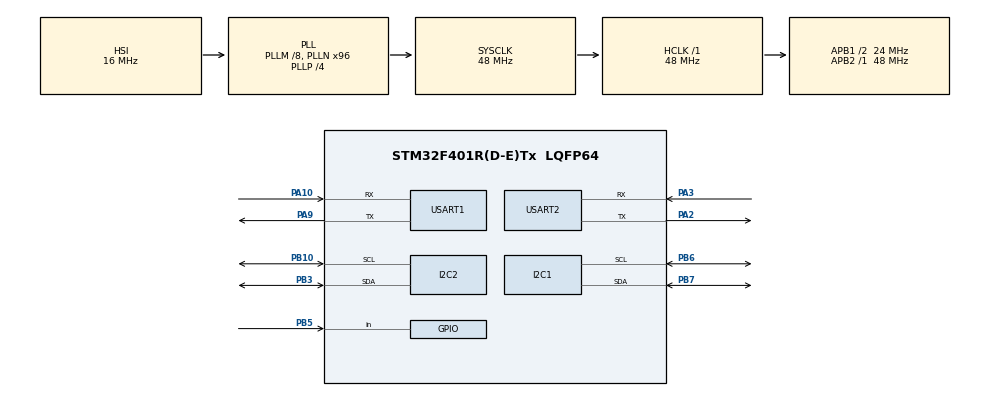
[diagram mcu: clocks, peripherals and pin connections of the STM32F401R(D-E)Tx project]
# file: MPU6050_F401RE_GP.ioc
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FREERTOS.Tasks01=defaultTask,24,128,StartDefaultTask,Default,NULL,Dynamic,NULL,NULL
FREERTOS.configUSE_NEWLIB_REENTRANT=1
I2C1.I2C_Mode=I2C_Fast
Mcu.Family=STM32F4
Mcu.Name=STM32F401R(D-E)Tx
Mcu.Package=LQFP64
NVIC.PriorityGroup=NVIC_PRIORITYGROUP_4
NVIC.TIM1_UP_TIM10_IRQn=true\:15\:0\:false\:false\:true\:false\:false\:true\:true
NVIC.TimeBase=TIM1_UP_TIM10_IRQn
NVIC.TimeBaseIP=TIM1
PA10.Mode=Asynchronous
PA10.Signal=USART1_RX
PA13.Mode=Serial_Wire
PA13.Signal=SYS_JTMS-SWDIO
PA14.Mode=Serial_Wire
PA14.Signal=SYS_JTCK-SWCLK
PA2.Mode=Asynchronous
PA2.Signal=USART2_TX
PA3.Mode=Asynchronous
PA3.Signal=USART2_RX
PA9.Mode=Asynchronous
PA9.Signal=USART1_TX
PB10.Mode=I2C
PB10.Signal=I2C2_SCL
PB3.Mode=I2C
PB3.Signal=I2C2_SDA
PB5.Signal=GPIO_Input
PB6.Mode=I2C
PB6.Signal=I2C1_SCL
PB7.Mode=I2C
PB7.Signal=I2C1_SDA
ProjectManager.HeapSize=0x200
ProjectManager.StackSize=0x400
ProjectManager.TargetToolchain=STM32CubeIDE
RCC.48MHZClocksFreq_Value=48000000
RCC.AHBFreq_Value=48000000
RCC.APB1CLKDivider=RCC_HCLK_DIV2
RCC.APB1Freq_Value=24000000
RCC.APB1TimFreq_Value=48000000
RCC.APB2Freq_Value=48000000
RCC.APB2TimFreq_Value=48000000
RCC.CortexFreq_Value=48000000
RCC.HCLKFreq_Value=48000000
RCC.HSE_VALUE=25000000
RCC.HSI_VALUE=16000000
RCC.LSE_VALUE=32768
RCC.PLLM=8
RCC.PLLN=96
RCC.PLLP=RCC_PLLP_DIV4
RCC.SYSCLKFreq_VALUE=48000000
RCC.SYSCLKSource=RCC_SYSCLKSOURCE_PLLCLK
RCC.VCOOutputFreq_Value=192000000
USART1.VirtualMode=VM_ASYNC
USART2.VirtualMode=VM_ASYNC
VP_FREERTOS_VS_CMSIS_V2.Mode=CMSIS_V2
VP_SYS_VS_tim1.Mode=TIM1
board=custom

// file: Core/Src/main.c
/* USER CODE BEGIN Header */
/**
  ******************************************************************************
  * @file           : main.c
  * @brief          : Main program body
  ******************************************************************************
  * @attention
  *
  * Copyright (c) 2025 STMicroelectronics.
  * All rights reserved.
  *
  * This software is licensed under terms that can be found in the LICENSE file
  * in the root directory of this software component.
  * If no LICENSE file comes with this software, it is provided AS-IS.
  *
  ******************************************************************************
  */
/* USER CODE END Header */
#include "main.h"
#include "cmsis_os.h"
#include "i2c.h"
#include "usart.h"
#include "gpio.h"

/* USER CODE BEGIN Includes */
#include <stdio.h>
#include <math.h>
#include <string.h>
#include "MPU6050.h"
#include "CalculateAngle.h"
#include "I2Cdev.h"
#include "HMC5883L.h"
/* USER CODE END Includes */

/* USER CODE BEGIN PV */
extern UART_HandleTypeDef huart1;
extern UART_HandleTypeDef huart2;
extern I2C_HandleTypeDef hi2c2;

int16_t mx, my, mz;
float pitch, roll;
char uartBuf[50];
float mx_comp, my_comp;
float yaw;

TaskHandle_t mpu6050_Handler;
TaskHandle_t HMC5883L_Handler;
osMutexId_t uart2MutexHandle;
/* USER CODE END PV */

void SystemClock_Config(void);
void MX_FREERTOS_Init(void);

/* USER CODE BEGIN 0 */

void Send_Yaw_Angle_UART(float yaw)
{
    int len = snprintf(uartBuf, sizeof(uartBuf), "%f\r\n", yaw);
    HAL_UART_Transmit(&huart1, (uint8_t*)uartBuf, len, HAL_MAX_DELAY);
}

void MPU6050_Task(void *argument)
{
	MPU6050_Initialization();
	osDelay(1000);
    while (1) {
    	if(MPU6050_DataReady() == 1)
		{
			MPU6050_ProcessData(&MPU6050);
			CalculateCompliFilter(&Angle, &MPU6050);
			char buffer[64];
			sprintf(buffer, "MPU6050 Yaw: %f\n\r",Angle.ComFilt_yaw);
			osMutexAcquire(uart2MutexHandle, osWaitForever);
			HAL_UART_Transmit(&huart2, (uint8_t*)buffer, strlen(buffer), HAL_MAX_DELAY);
			osMutexRelease(uart2MutexHandle);
			osDelay(10);
		}
    }
}

void HMC5883L_Task(void *argument)
{
	char buffer[64];
	HMC5883L_initialize();
	osDelay(100);
    while (1) {
    	HMC5883L_getHeading(&mx, &my, &mz);
		float fx = (float)mx;
		float fy = (float)my;
		float fz = (float)mz;
		float pitchRad = pitch * M_PI / 180.0;
		float rollRad  = roll  * M_PI / 180.0;

		mx_comp = fx * cos(pitchRad) + fz * sin(pitchRad);
		my_comp = fx * sin(rollRad) * sin(pitchRad) + fy * cos(rollRad) - fz * sin(rollRad) * cos(pitchRad);

		yaw = atan2(my_comp, mx_comp) * 180.0 / M_PI;

		if (yaw < 0)
			yaw += 360;
    	sprintf(buffer, "HMC5883L Yaw: %.2f°\r\n", yaw);
    	osMutexAcquire(uart2MutexHandle, osWaitForever);
    	//HAL_UART_Transmit(&huart2, (uint8_t*)buffer, strlen(buffer), HAL_MAX_DELAY);
    	printf("%s", buffer);
    	osMutexRelease(uart2MutexHandle);
        osDelay(10);
    }
}

#ifdef __GNUC__
#define UART_printf   int __io_putchar(int ch)
UART_printf
{
	HAL_UART_Transmit(&huart2, (uint8_t*)&ch, 1, HAL_MAX_DELAY);
	return ch;
}
#endif
/* USER CODE END 0 */

int main(void)
{

  /* MCU Configuration--------------------------------------------------------*/

  /* Reset of all peripherals, Initializes the Flash interface and the Systick. */
  HAL_Init();

  /* Configure the system clock */
  SystemClock_Config();

  /* Initialize all configured peripherals */
  MX_GPIO_Init();
  MX_I2C1_Init();
  MX_USART2_UART_Init();
  MX_USART1_UART_Init();
  MX_I2C2_Init();
  /* USER CODE BEGIN 2 */
  I2Cdev_init(&hi2c2);
  /* USER CODE END 2 */

  /* Init scheduler */
  osKernelInitialize();

  /* Call init function for freertos objects (in cmsis_os2.c) */

  uart2MutexHandle = osMutexNew(NULL);

//  const osThreadAttr_t mpu6050Task_attributes = {
//    .name = "MPU6050",
//    .priority = (osPriority_t) osPriorityAboveNormal,
//    .stack_size = 128 * 4
//  };
//  mpu6050_Handler = osThreadNew(MPU6050_Task, NULL, &mpu6050Task_attributes);

  const osThreadAttr_t hmc5883lTask_attributes = {
	.name = "HMC5883L",
	.priority = (osPriority_t) osPriorityAboveNormal1,
	.stack_size = 128 * 4
  };
  HMC5883L_Handler = osThreadNew(HMC5883L_Task, NULL, &hmc5883lTask_attributes);
  /* Start scheduler */
  osKernelStart();

  /* We should never get here as control is now taken by the scheduler */

  /* Infinite loop */
  /* USER CODE BEGIN WHILE */
  while (1)
  {
//	  HMC5883L_getHeading(&mx, &my, &mz);  // Reads raw magnetometer data
//	  sprintf(buffer, "Mag X: %d\tY: %d\tZ: %d\r\n", mx, my, mz);
//	  printf("%s \n", buffer);
//	  computeYawFromMag();
//	  HAL_Delay(10);
//	  if(MPU6050_DataReady() == 1)
//		{
//			MPU6050_ProcessData(&MPU6050);
//			CalculateCompliFilter(&Angle, &MPU6050);
//			printf("%f\n\r",Angle.ComFilt_yaw);
//			Send_Yaw_Angle_UART(Angle.ComFilt_yaw);
//			//HAL_Delay(10);
//	//	  			printf("%f, %f, %f\n", Angle.ComFilt_roll,Angle.ComFilt_pitch,Angle.ComFilt_yaw);
//		}

    /* USER CODE END WHILE */

  }
}

void SystemClock_Config(void)
{
  RCC_OscInitTypeDef RCC_OscInitStruct = {0};
  RCC_ClkInitTypeDef RCC_ClkInitStruct = {0};

  /** Configure the main internal regulator output voltage
  */
  __HAL_RCC_PWR_CLK_ENABLE();
  __HAL_PWR_VOLTAGESCALING_CONFIG(PWR_REGULATOR_VOLTAGE_SCALE2);

  /** Initializes the RCC Oscillators according to the specified parameters
  * in the RCC_OscInitTypeDef structure.
  */
  RCC_OscInitStruct.OscillatorType = RCC_OSCILLATORTYPE_HSI;
  RCC_OscInitStruct.HSIState = RCC_HSI_ON;
  RCC_OscInitStruct.HSICalibrationValue = RCC_HSICALIBRATION_DEFAULT;
  RCC_OscInitStruct.PLL.PLLState = RCC_PLL_ON;
  RCC_OscInitStruct.PLL.PLLSource = RCC_PLLSOURCE_HSI;
  RCC_OscInitStruct.PLL.PLLM = 8;
  RCC_OscInitStruct.PLL.PLLN = 96;
  RCC_OscInitStruct.PLL.PLLP = RCC_PLLP_DIV4;
  RCC_OscInitStruct.PLL.PLLQ = 4;
  if (HAL_RCC_OscConfig(&RCC_OscInitStruct) != HAL_OK)
  {
    Error_Handler();
  }

  /** Initializes the CPU, AHB and APB buses clocks
  */
  RCC_ClkInitStruct.ClockType = RCC_CLOCKTYPE_HCLK|RCC_CLOCKTYPE_SYSCLK
                              |RCC_CLOCKTYPE_PCLK1|RCC_CLOCKTYPE_PCLK2;
  RCC_ClkInitStruct.SYSCLKSource = RCC_SYSCLKSOURCE_PLLCLK;
  RCC_ClkInitStruct.AHBCLKDivider = RCC_SYSCLK_DIV1;
  RCC_ClkInitStruct.APB1CLKDivider = RCC_HCLK_DIV2;
  RCC_ClkInitStruct.APB2CLKDivider = RCC_HCLK_DIV1;

  if (HAL_RCC_ClockConfig(&RCC_ClkInitStruct, FLASH_LATENCY_1) != HAL_OK)
  {
    Error_Handler();
  }
}

void HAL_TIM_PeriodElapsedCallback(TIM_HandleTypeDef *htim)
{
  if (htim->Instance == TIM1) {
    HAL_IncTick();
  }
}

void Error_Handler(void)
{
  __disable_irq();
  while (1)
  {
  }
}
